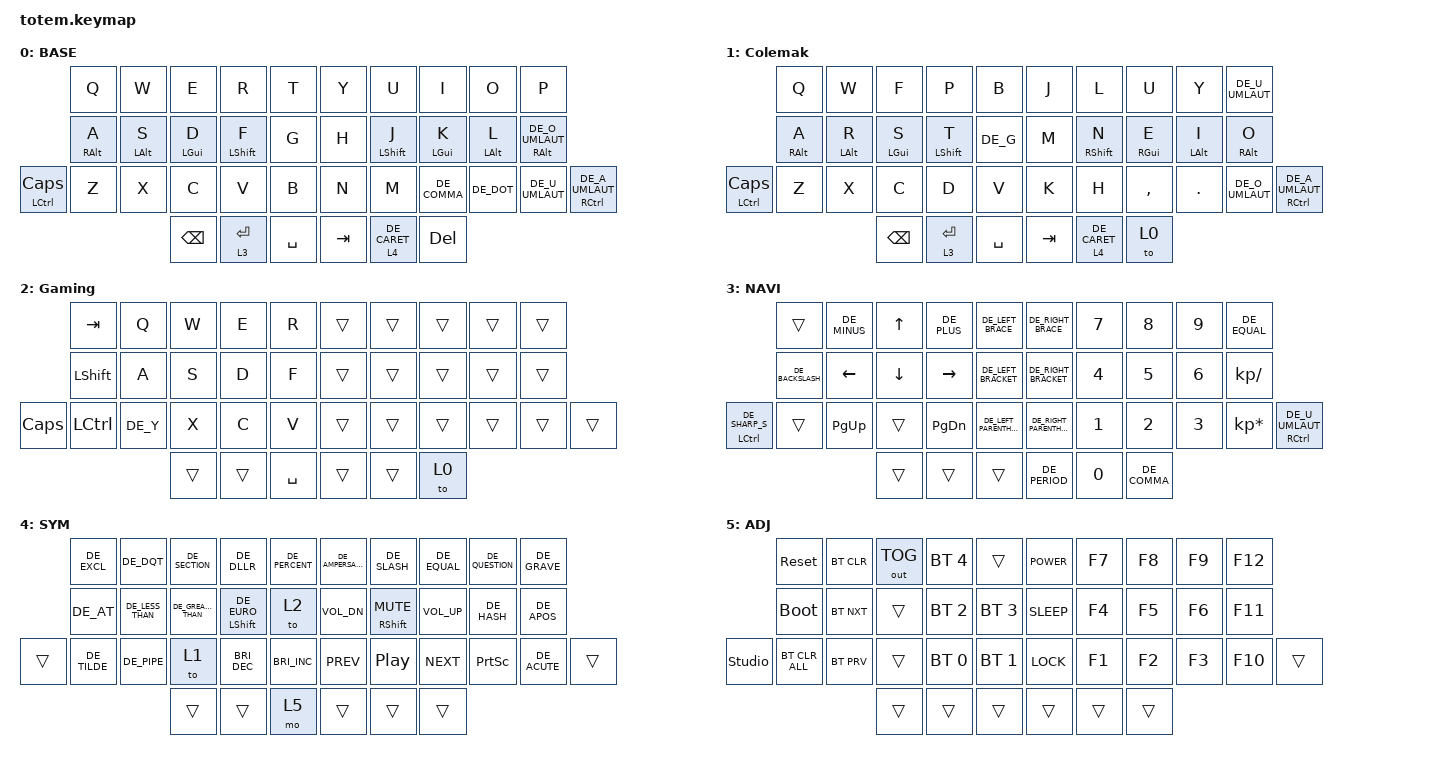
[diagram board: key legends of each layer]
//
//                                                        ▀▀▀▀▀     ▀▀▀▀▀          ▀▀█▀▀
//                                                        ▄▀▀▀▄  ▄  ▄▀▀▀▄  ▄  ▄▀▀▀▄  █  ▄▀▀▀▄
//                                                        █   █  █  █   █  █  █   █  █  █   █
//                                                         ▀▀▀   █   ▀▀▀   █   ▀▀▀   ▀   ▀▀▀
//                                                               █      ▄▄▄█▄▄▄    █   █  
//                                                               ▀      █  █  █     █▄█
//                                                             ▀▀▀▀▀    █  █  █      ▀
//                                                                      ▀  ▀  ▀
//
// ▄▄▄▄▄▄▄▄▄▄▄▄▄▄▄▄▄▄▄▄▄▄▄▄▄▄▄▄▄▄▄▄▄▄▄▄▄▄▄▄▄▄▄▄▄▄▄▄▄▄▄▄▄▄▄▄▄▄▄▄▄▄▄▄▄▄▄▄▄▄▄▄▄▄▄▄▄▄▄▄▄▄▄▄▄▄▄▄▄▄▄▄▄▄▄▄▄▄▄▄▄▄▄▄▄▄▄▄▄▄▄▄▄▄▄▄▄▄▄▄▄▄▄▄▄▄▄▄▄▄▄▄▄▄▄▄▄▄▄▄▄▄▄▄▄▄▄▄▄

#include "keys_de.h"
#include <behaviors.dtsi>
#include <dt-bindings/zmk/bt.h>
#include <dt-bindings/zmk/keys.h>
#include <dt-bindings/zmk/outputs.h>

#define BASE 0
#define NAV  1
#define SYM  2
#define ADJ  3
#define TVP1 4
#define TVP2 5

&mt {
    quick-tap-ms = <150>;
    global-quick-tap;
    flavor = "tap-preferred";
    tapping-term-ms = <170>;
};

/ {
    combos { compatible = "zmk,combos"; };

    behaviors {
        mt_left: mt_left {
            compatible = "zmk,behavior-hold-tap";
            label = "MT_LEFT";
            bindings = <&kp>, <&kp>;

            #binding-cells = <2>;
            tapping-term-ms = <400>;
            quick-tap-ms = <170>;
            flavor = "balanced";
            hold-trigger-key-positions = <26 27 16 15 5 6 7 5 6 7 8 9 15 16 17 18 19 26 27 28 29 31 5 6 7 8 9 15 16 17 18 19 26 27 28 29 30 31 35 36 37 32 33 34>;
            require-prior-idle-ms = <50>;
            hold-trigger-on-release;
        };

        mt_right: mt_right {
            compatible = "zmk,behavior-hold-tap";
            label = "MT_RIGHT";
            bindings = <&kp>, <&kp>;

            #binding-cells = <2>;
            tapping-term-ms = <400>;
            quick-tap-ms = <170>;
            flavor = "balanced";
            require-prior-idle-ms = <50>;
            hold-trigger-on-release;
            hold-trigger-key-positions = <0 1 4 10 11 12 13 14 20 21 22 23 24 25 2 35 36 37 3 32 33 34>;
        };

        mt_thumb: mt_thumb {
            compatible = "zmk,behavior-hold-tap";
            label = "MT_THUMB";
            bindings = <&kp>, <&kp>;

            #binding-cells = <2>;
            quick-tap-ms = <220>;
            flavor = "balanced";
            tapping-term-ms = <100>;
            require-prior-idle-ms = <0>;
        };

        mt_shift_left: mt_shift_left {
            compatible = "zmk,behavior-hold-tap";
            label = "MT_SHIFT_LEFT";
            bindings = <&kp>, <&kp>;

            #binding-cells = <2>;
            tapping-term-ms = <175>;
            quick-tap-ms = <175>;
            flavor = "tap-preferred";
            hold-trigger-key-positions = <19 26 27 29 30 31 36 37 35 36 32 33 34 5 6 7 8 9 15 16 17 18 19 26 27 28 29 31>;
            require-prior-idle-ms = <20>;
        };

        mt_shift_right: mt_shift_right {
            compatible = "zmk,behavior-hold-tap";
            label = "MT_SHIFT_RIGHT";
            bindings = <&kp>, <&kp>;

            #binding-cells = <2>;
            tapping-term-ms = <175>;
            quick-tap-ms = <175>;
            flavor = "tap-preferred";
            hold-trigger-key-positions = <0 1 2 3 4 10 11 12 13 14 20 21 22 23 24 25 32 33 34 35 36 37>;
            require-prior-idle-ms = <20>;
        };

        hold_sticky: hold_sticky {
            compatible = "zmk,behavior-hold-tap";
            label = "HOLD_STICKY";
            bindings = <&kp>, <&sk>;

            #binding-cells = <2>;
            flavor = "hold-preferred";
            tapping-term-ms = <150>;
            quick-tap-ms = <220>;
        };

        mt_all: mt_all {
            compatible = "zmk,behavior-hold-tap";
            label = "MT_ALL";
            bindings = <&kp>, <&kp>;

            #binding-cells = <2>;
            tapping-term-ms = <175>;
            quick-tap-ms = <175>;
            flavor = "balanced";
            require-prior-idle-ms = <35>;
            hold-trigger-on-release;
        };
    };

    keymap {
        compatible = "zmk,keymap";

        // ▄▄▄▄▄▄▄▄▄▄▄▄▄▄▄▄▄▄▄▄▄▄▄▄▄▄▄▄▄▄▄▄▄▄▄▄▄▄▄▄▄▄▄▄▄▄▄▄▄▄▄▄▄▄▄▄▄▄▄▄▄▄▄▄▄▄▄▄▄▄▄▄▄▄▄▄▄▄▄▄▄▄▄▄▄▄▄▄▄▄▄▄▄▄▄▄▄▄▄▄▄▄▄▄▄▄▄▄▄▄▄▄▄▄▄▄▄▄▄▄▄▄▄▄▄▄▄▄▄▄▄▄▄▄▄▄▄▄▄▄▄▄▄▄▄▄▄▄▄

        base_layer {
            // ┏━━━━━━━━━━━━━━━━━━━━━━━━━━━━━━━━━━━━━━━┓

            label = "BASE";

            // ┗━━━━━━━━━━━━━━━━━━━━━━━━━━━━━━━━━━━━━━━┛
            //             ┏━━━━━━━━━━━┳━━━━━━━━━━━┳━━━━━━━━━━━┳━━━━━━━━━━━┳━━━━━━━━━━━┓   ┏━━━━━━━━━━━┳━━━━━━━━━━━┳━━━━━━━━━━━┳━━━━━━━━━━━┳━━━━━━━━━━━┓
            //             ┃     Q     ┃     W     ┃     F     ┃     P     ┃     G     ┃   ┃     J     ┃     L     ┃     U     ┃     Y     ┃     ;     ┃
            //             ┣━━━━━━━━━━━╋━━━━━━━━━━━╋━━━━━━━━━━━╋━━━━━━━━━━━╋━━━━━━━━━━━┫   ┣━━━━━━━━━━━╋━━━━━━━━━━━╋━━━━━━━━━━━╋━━━━━━━━━━━╋━━━━━━━━━━━┫
            //             ┃     A     ┃     R     ┃     S     ┃     T     ┃     D     ┃   ┃     H     ┃     N     ┃     E     ┃     I     ┃     O     ┃
            // ┏━━━━━━━━━━━╋━━━━━━━━━━━╋━━━━━━━━━━━╋━━━━━━━━━━━╋━━━━━━━━━━━╋━━━━━━━━━━━┫   ┣━━━━━━━━━━━╋━━━━━━━━━━━╋━━━━━━━━━━━╋━━━━━━━━━━━╋━━━━━━━━━━━╋━━━━━━━━━━━┓
            // ┃     Q     ┃     Z     ┃     X     ┃     C     ┃     V     ┃     B     ┃   ┃     K     ┃     M     ┃     ,     ┃     .     ┃     /     ┃     \     ┃
            // ┗━━━━━━━━━━━┻━━━━━━━━━━━┻━━━━━━━━━━━╋━━━━━━━━━━━╋━━━━━━━━━━━╋━━━━━━━━━━━┫   ┣━━━━━━━━━━━╋━━━━━━━━━━━╋━━━━━━━━━━━╋━━━━━━━━━━━┻━━━━━━━━━━━┻━━━━━━━━━━━┛
            //                                     ┃    DEL    ┃    TAB    ┃    SPC    ┃   ┃   ENTER   ┃           ┃   BSPC    ┃
            //                                     ┗━━━━━━━━━━━┻━━━━━━━━━━━┻━━━━━━━━━━━┛   ┗━━━━━━━━━━━┻━━━━━━━━━━━┻━━━━━━━━━━━┛

            bindings = <
                               &kp Q                       &kp W                  &kp E            &kp R                    &kp T        &kp Y    &kp U                     &kp I             &kp O                   &kp P
                               &mt_shift_left RIGHT_ALT A  &mt_shift_left LALT S  &mt_left LGUI D  &mt_shift_left LSHIFT F  &kp G        &kp H    &mt_shift_right LSHIFT J  &mt_right LGUI K  &mt_shift_right LALT L  &mt_shift_right RIGHT_ALT DE_O_UMLAUT
&mt_all LEFT_CONTROL CAPSLOCK  &kp Z                       &kp X                  &kp C            &kp V                    &kp B        &kp N    &kp M                     &kp DE_COMMA      &kp DE_DOT              &kp DE_U_UMLAUT                        &mt_all RCTRL DE_A_UMLAUT
                                                                                  &kp BACKSPACE    &lt 3 ENTER              &kp SPACE    &kp TAB  &lt 4 DE_CARET            &kp DELETE
            >;
        };

        Colemak {
            bindings = <
                        &kp Q                       &kp W                      &kp F            &kp P                    &kp B        &kp J    &kp L                     &kp U             &kp Y                       &kp DE_U_UMLAUT
                        &mt_shift_left RIGHT_ALT A  &mt_shift_left LEFT_ALT R  &mt_left LGUI S  &mt_shift_left LSHIFT T  &kp DE_G     &kp M    &mt_shift_right RSHIFT N  &mt_right RGUI E  &mt_shift_right LEFT_ALT I  &mt_shift_right RIGHT_ALT O
&mt_all LCTRL CAPSLOCK  &kp Z                       &kp X                      &kp C            &kp D                    &kp V        &kp K    &kp H                     &kp COMMA         &kp DOT                     &kp DE_O_UMLAUT              &mt_all RCTRL DE_A_UMLAUT
                                                                               &kp BACKSPACE    &lt 3 ENTER              &kp SPACE    &kp TAB  &lt 4 DE_CARET            &to 0
            >;
        };

        Gaming {
            bindings = <
          &kp TAB     &kp Q     &kp W   &kp E   &kp R        &trans  &trans  &trans  &trans  &trans
          &kp LSHIFT  &kp A     &kp S   &kp D   &kp F        &trans  &trans  &trans  &trans  &trans
&kp CAPS  &kp LCTRL   &kp DE_Y  &kp X   &kp C   &kp V        &trans  &trans  &trans  &trans  &trans  &trans
                                &trans  &trans  &kp SPACE    &trans  &trans  &to 0
            >;
        };

        nav_layer {
            // ┏━━━━━━━━━━━━━━━━━━━━━━━━━━━━━━━━━━━━━━━┓

            label = "NAVI";

            // ┗━━━━━━━━━━━━━━━━━━━━━━━━━━━━━━━━━━━━━━━┛
            //             ┏━━━━━━━━━━━┳━━━━━━━━━━━┳━━━━━━━━━━━┳━━━━━━━━━━━┳━━━━━━━━━━━┓   ┏━━━━━━━━━━━┳━━━━━━━━━━━┳━━━━━━━━━━━┳━━━━━━━━━━━┳━━━━━━━━━━━┓
            //             ┃           ┃           ┃     UP    ┃           ┃     {     ┃   ┃     }     ┃     7     ┃     8     ┃     9     ┃     +     ┃
            //             ┣━━━━━━━━━━━╋━━━━━━━━━━━╋━━━━━━━━━━━╋━━━━━━━━━━━╋━━━━━━━━━━━┫   ┣━━━━━━━━━━━╋━━━━━━━━━━━╋━━━━━━━━━━━╋━━━━━━━━━━━╋━━━━━━━━━━━┫
            //             ┃   SHIFT   ┃   LEFT    ┃    DOWN   ┃   RIGHT   ┃     [     ┃   ┃     ]     ┃     4     ┃     5     ┃     6     ┃     -     ┃
            // ┏━━━━━━━━━━━╋━━━━━━━━━━━╋━━━━━━━━━━━╋━━━━━━━━━━━╋━━━━━━━━━━━╋━━━━━━━━━━━┫   ┣━━━━━━━━━━━╋━━━━━━━━━━━╋━━━━━━━━━━━╋━━━━━━━━━━━╋━━━━━━━━━━━╋━━━━━━━━━━━┓
            // ┃           ┃           ┃   P UP    ┃  C LOCK   ┃  P DOWN   ┃     (     ┃   ┃     )     ┃     1     ┃     2     ┃     3     ┃     *     ┃           ┃
            // ┗━━━━━━━━━━━┻━━━━━━━━━━━┻━━━━━━━━━━━╋━━━━━━━━━━━╋━━━━━━━━━━━╋━━━━━━━━━━━┫   ┣━━━━━━━━━━━╋━━━━━━━━━━━╋━━━━━━━━━━━╋━━━━━━━━━━━┻━━━━━━━━━━━┻━━━━━━━━━━━┛
            //                                     ┃           ┃    TAB    ┃    SPC    ┃   ┃    DEL    ┃     0     ┃           ┃
            //                                     ┗━━━━━━━━━━━┻━━━━━━━━━━━┻━━━━━━━━━━━┛   ┗━━━━━━━━━━━┻━━━━━━━━━━━┻━━━━━━━━━━━┛

            bindings = <
                          &trans            &kp DE_MINUS    &kp UP          &kp DE_PLUS      &kp DE_LEFT_BRACE          &kp DE_RIGHT_BRACE        &kp N7        &kp N8        &kp N9        &kp DE_EQUAL
                          &kp DE_BACKSLASH  &kp LEFT_ARROW  &kp DOWN_ARROW  &kp RIGHT_ARROW  &kp DE_LEFT_BRACKET        &kp DE_RIGHT_BRACKET      &kp NUMBER_4  &kp N5        &kp NUMBER_6  &kp KP_DIVIDE
&mt_all LCTRL DE_SHARP_S  &trans            &kp PG_UP       &trans          &kp PG_DN        &kp DE_LEFT_PARENTHESIS    &kp DE_RIGHT_PARENTHESIS  &kp NUMBER_1  &kp N2        &kp N3        &kp KP_MULTIPLY  &mt_all RCTRL DE_U_UMLAUT
                                                            &trans          &trans           &trans                     &kp DE_PERIOD             &kp N0        &kp DE_COMMA
            >;
        };

        sim_layer {
            // ┏━━━━━━━━━━━━━━━━━━━━━━━━━━━━━━━━━━━━━━━┓

            label = "SYM";

            // ┗━━━━━━━━━━━━━━━━━━━━━━━━━━━━━━━━━━━━━━━┛
            //             ┏━━━━━━━━━━━┳━━━━━━━━━━━┳━━━━━━━━━━━┳━━━━━━━━━━━┳━━━━━━━━━━━┓   ┏━━━━━━━━━━━┳━━━━━━━━━━━┳━━━━━━━━━━━┳━━━━━━━━━━━┳━━━━━━━━━━━┓
            //             ┃     !     ┃     @     ┃     #     ┃     $     ┃     %     ┃   ┃     ˆ     ┃     &     ┃     Ü     ┃     '     ┃     "     ┃
            //             ┣━━━━━━━━━━━╋━━━━━━━━━━━╋━━━━━━━━━━━╋━━━━━━━━━━━╋━━━━━━━━━━━┫   ┣━━━━━━━━━━━╋━━━━━━━━━━━╋━━━━━━━━━━━╋━━━━━━━━━━━╋━━━━━━━━━━━┫
            //             ┃     Ä     ┃           ┃    SZ     ┃           ┃           ┃   ┃   MUTE    ┃   YEN     ┃   EURO    ┃  POUND    ┃     Ö     ┃
            // ┏━━━━━━━━━━━╋━━━━━━━━━━━╋━━━━━━━━━━━╋━━━━━━━━━━━╋━━━━━━━━━━━╋━━━━━━━━━━━┫   ┣━━━━━━━━━━━╋━━━━━━━━━━━╋━━━━━━━━━━━╋━━━━━━━━━━━╋━━━━━━━━━━━╋━━━━━━━━━━━┓
            // ┃           ┃  EMAIL1   ┃  EMAIL2   ┃           ┃           ┃           ┃   ┃   VOL-    ┃   VOL+    ┃   LAST    ┃   NEXT    ┃     \     ┃           ┃
            // ┗━━━━━━━━━━━┻━━━━━━━━━━━┻━━━━━━━━━━━╋━━━━━━━━━━━╋━━━━━━━━━━━╋━━━━━━━━━━━┫   ┣━━━━━━━━━━━╋━━━━━━━━━━━╋━━━━━━━━━━━╋━━━━━━━━━━━┻━━━━━━━━━━━┻━━━━━━━━━━━┛
            //                                     ┃           ┃    GIF    ┃    ADJ    ┃   ┃           ┃           ┃           ┃
            //                                     ┗━━━━━━━━━━━┻━━━━━━━━━━━┻━━━━━━━━━━━┛   ┗━━━━━━━━━━━┻━━━━━━━━━━━┻━━━━━━━━━━━┛

            bindings = <
        &kp DE_EXCL   &kp DE_DQT        &kp DE_SECTION       &kp DE_DLLR                 &kp DE_PERCENT          &kp DE_AMPERSAND  &kp DE_SLASH                &kp DE_EQUAL  &kp DE_QUESTION  &kp DE_GRAVE
        &kp DE_AT     &kp DE_LESS_THAN  &kp DE_GREATER_THAN  &mt_all LEFT_SHIFT DE_EURO  &to 2                   &kp C_VOL_DN      &mt_all RIGHT_SHIFT C_MUTE  &kp C_VOL_UP  &kp DE_HASH      &kp DE_APOS
&trans  &kp DE_TILDE  &kp DE_PIPE       &to 1                &kp C_BRI_DEC               &kp C_BRIGHTNESS_INC    &kp C_PREV        &kp C_PP                    &kp C_NEXT    &kp PSCRN        &kp DE_ACUTE  &trans
                                        &trans               &trans                      &mo 5                   &trans            &trans                      &trans
            >;
        };

        adjust_layer {
            // ┏━━━━━━━━━━━━━━━━━━━━━━━━━━━━━━━━━━━━━━━┓

            label = "ADJ";

            // ┗━━━━━━━━━━━━━━━━━━━━━━━━━━━━━━━━━━━━━━━┛
            //             ┏━━━━━━━━━━━┳━━━━━━━━━━━┳━━━━━━━━━━━┳━━━━━━━━━━━┳━━━━━━━━━━━┓   ┏━━━━━━━━━━━┳━━━━━━━━━━━┳━━━━━━━━━━━┳━━━━━━━━━━━┳━━━━━━━━━━━┓
            //             ┃   RESET   ┃ BT CLEAR  ┃  OUT TOG  ┃           ┃           ┃   ┃           ┃    F7     ┃    F8     ┃    F9     ┃    F12    ┃
            //             ┣━━━━━━━━━━━╋━━━━━━━━━━━╋━━━━━━━━━━━╋━━━━━━━━━━━╋━━━━━━━━━━━┫   ┣━━━━━━━━━━━╋━━━━━━━━━━━╋━━━━━━━━━━━╋━━━━━━━━━━━╋━━━━━━━━━━━┫
            //             ┃ BOOTLOAD  ┃ BT NEXT   ┃           ┃           ┃           ┃   ┃           ┃    F4     ┃    F5     ┃    F6     ┃    F11    ┃
            // ┏━━━━━━━━━━━╋━━━━━━━━━━━╋━━━━━━━━━━━╋━━━━━━━━━━━╋━━━━━━━━━━━╋━━━━━━━━━━━┫   ┣━━━━━━━━━━━╋━━━━━━━━━━━╋━━━━━━━━━━━╋━━━━━━━━━━━╋━━━━━━━━━━━╋━━━━━━━━━━━┓
            // ┃           ┃           ┃ BT PREV   ┃           ┃           ┃           ┃   ┃           ┃    F1     ┃    F2     ┃    F3     ┃    F10    ┃           ┃
            // ┗━━━━━━━━━━━┻━━━━━━━━━━━┻━━━━━━━━━━━╋━━━━━━━━━━━╋━━━━━━━━━━━╋━━━━━━━━━━━┫   ┣━━━━━━━━━━━╋━━━━━━━━━━━╋━━━━━━━━━━━╋━━━━━━━━━━━┻━━━━━━━━━━━┻━━━━━━━━━━━┛
            //                                     ┃           ┃           ┃           ┃   ┃           ┃           ┃           ┃
            //                                     ┗━━━━━━━━━━━┻━━━━━━━━━━━┻━━━━━━━━━━━┛   ┗━━━━━━━━━━━┻━━━━━━━━━━━┻━━━━━━━━━━━┛

            bindings = <
                &sys_reset      &bt BT_CLR  &out OUT_TOG  &bt BT_SEL 4  &trans          &kp K_POWER  &kp F7  &kp F8  &kp F9  &kp F12
                &bootloader     &bt BT_NXT  &trans        &bt BT_SEL 2  &bt BT_SEL 3    &kp K_SLEEP  &kp F4  &kp F5  &kp F6  &kp F11
&studio_unlock  &bt BT_CLR_ALL  &bt BT_PRV  &trans        &bt BT_SEL 0  &bt BT_SEL 1    &kp K_LOCK   &kp F1  &kp F2  &kp F3  &kp F10  &trans
                                            &trans        &trans        &trans          &trans       &trans  &trans
            >;
        };

        // ▄▄▄▄▄▄▄▄▄▄▄▄▄▄▄▄▄▄▄▄▄▄▄▄▄▄▄▄▄▄▄▄▄▄▄▄▄▄▄▄▄▄▄▄▄▄▄▄▄▄▄▄▄▄▄▄▄▄▄▄▄▄▄▄▄▄▄▄▄▄▄▄▄▄▄▄▄▄▄▄▄▄▄▄▄▄▄▄▄▄▄▄▄▄▄▄▄▄▄▄▄▄▄▄▄▄▄▄▄▄▄▄▄▄▄▄▄▄▄▄▄▄▄▄▄▄▄▄▄▄▄▄▄▄▄▄▄▄▄▄▄▄▄▄▄▄▄▄▄
        // ▄▄▄▄▄▄▄▄▄▄▄▄▄▄▄▄▄▄▄▄▄▄▄▄▄▄▄▄▄▄▄▄▄▄▄▄▄▄▄▄▄▄▄▄▄▄▄▄▄▄▄▄▄▄▄▄▄▄▄▄▄▄▄▄▄▄▄▄▄▄▄▄▄▄▄▄▄▄▄▄▄▄▄▄▄▄▄▄▄▄▄▄▄▄▄▄▄▄▄▄▄▄▄▄▄▄▄▄▄▄▄▄▄▄▄▄▄▄▄▄▄▄▄▄▄▄▄▄▄▄▄▄▄▄▄▄▄▄▄▄▄▄▄▄▄▄▄▄▄
    };
};
